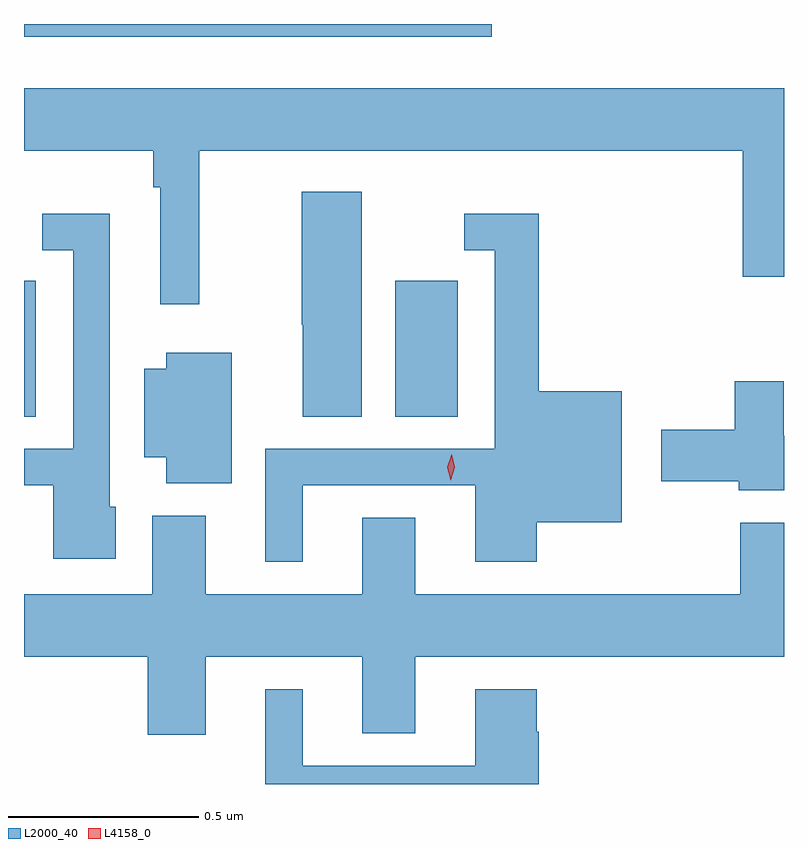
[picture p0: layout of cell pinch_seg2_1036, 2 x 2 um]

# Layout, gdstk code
import gdstk
lib = gdstk.Library(unit=1e-6, precision=1e-09)
def R(c, l, rs):  # rectangles x0, y0, x1, y1
    for r in rs: c.add(gdstk.rectangle(r[:2], r[2:], *l))
def P(c, l, *ps):  # polygons
    for p in ps: c.add(gdstk.Polygon(p, *l))
L2000_40 = (2000, 40)
L4158_0 = (4158, 0)

pinch_seg2_1036 = lib.new_cell('pinch_seg2_1036')
R(pinch_seg2_1036, L2000_40, [(314.001,617.632,314.032,617.989), (314.978,617.632,315.142,617.989), (314.001,618.632,315.232,618.665)])
P(pinch_seg2_1036, L2000_40, [(314.462,618.332),(315.892,618.332),(315.892,618),(316.001,618),(316.001,618.496),(314.001,618.496),(314.001,618.332),(314.341,618.332),(314.341,618.236),(314.36,618.236),(314.36,617.928),(314.462,617.928)],
  [(314.89,618.223),(314.732,618.223),(314.732,617.874),(314.735,617.874),(314.735,617.632),(314.89,617.632)],
  [(314.734,617.451),(315.188,617.451),(315.188,617.25),(315.35,617.25),(315.35,617.354),(315.574,617.354),(315.574,617.698),(315.356,617.698),(315.356,618.166),(315.159,618.166),(315.159,618.069),(315.24,618.069),(315.24,617.547),(314.636,617.547),(314.636,617.25),(314.734,617.25)],
  [(314.242,617.394),(314.226,617.394),(314.226,617.94),(314.227,617.94),(314.227,618.166),(314.049,618.166),(314.049,618.069),(314.13,618.069),(314.13,617.547),(314.001,617.547),(314.001,617.451),(314.078,617.451),(314.078,617.258),(314.242,617.258)],
  [(314.548,617.8),(314.375,617.8),(314.375,617.758),(314.318,617.758),(314.318,617.525),(314.375,617.525),(314.375,617.456),(314.548,617.456)],
  [(316.001,617.582),(316,617.582),(316,617.725),(315.871,617.725),(315.871,617.597),(315.678,617.597),(315.678,617.462),(315.882,617.462),(315.882,617.438),(316.001,617.438)],
  [(314.479,617),(314.891,617),(314.891,616.798),(315.031,616.798),(315.031,617),(316.001,617),(316.001,617.353),(315.886,617.353),(315.886,617.164),(315.031,617.164),(315.031,617.366),(314.891,617.366),(314.891,617.164),(314.479,617.164),(314.479,617.371),(314.339,617.371),(314.339,617.164),(314.001,617.164),(314.001,617),(314.327,617),(314.327,616.794),(314.479,616.794)],
  [(315.356,616.802),(315.35,616.802),(315.35,616.915),(315.188,616.915),(315.188,616.713),(314.734,616.713),(314.734,616.915),(314.636,616.915),(314.636,616.665),(315.356,616.665)])
P(pinch_seg2_1036, L4158_0, [(315.124,617.464),(315.124,617.464),(315.115,617.499),(315.127,617.533),(315.127,617.533),(315.127,617.533),(315.135,617.498),(315.124,617.464)])

lib.write_gds('pinch_seg2_1036.gds')
